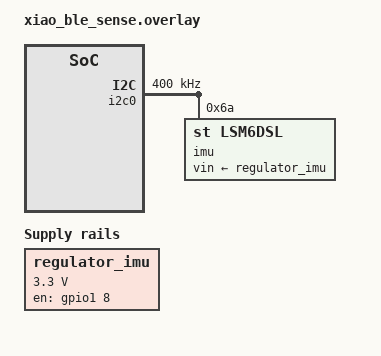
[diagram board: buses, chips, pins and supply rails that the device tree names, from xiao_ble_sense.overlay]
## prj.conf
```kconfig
CONFIG_STDOUT_CONSOLE=y
CONFIG_I2C=y
CONFIG_TEMP_NRF5=y
CONFIG_LSM6DSL=y
CONFIG_LSM6DSL_TRIGGER_GLOBAL_THREAD=y

CONFIG_REGULATOR=y
CONFIG_REGULATOR_FIXED=y

CONFIG_SENSOR=y
```

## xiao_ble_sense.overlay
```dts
// To get started, press Ctrl+Space to bring up the completion menu and view the available nodes.

// You can also use the buttons in the sidebar to perform actions on nodes.
// Actions currently available include:

// * Enabling / disabling the node
// * Adding the bus to a bus
// * Removing the node
// * Connecting ADC channels

// For more help, browse the DeviceTree documentation at https://docs.zephyrproject.org/latest/guides/dts/index.html
// You can also visit the nRF DeviceTree extension documentation at https://docs.nordicsemi.com/bundle/nrf-connect-vscode/page/guides/ncs_configure_app.html#devicetree-support-in-the-extension
/{
    regulator_imu: regulator-imu {
        compatible = "regulator-fixed";
        regulator-name = "IMU_Regulator";
        enable-gpios = <&gpio1 8 (GPIO_ACTIVE_HIGH| NRF_GPIO_DRIVE_S0H1)>;
        startup-delay-us = <10000>;
        regulator-min-microvolt = <3300000>;
        regulator-max-microvolt = <3300000>;
        regulator-boot-on;
        status = "okay";
    };

};



&i2c0 {
    compatible = "nordic,nrf-twim";
	/* Cannot be used together with spi0. */
	status = "okay";
	pinctrl-0 = <&i2c0_default>;
	pinctrl-1 = <&i2c0_sleep>;
	pinctrl-names = "default", "sleep";
	clock-frequency = <I2C_BITRATE_FAST>;
    label = "I2C0";

    // imu: imu@6a{
    //     compatible = "st,lsm6dsx";
    //     reg = <0x6a>;
    //     label = "IMU";
    //     vdd-supply=<&regulator_imu>;
    //     vin-supply=<&regulator_imu>;
    //     vddio-supply=<&regulator_imu>;
    //     st,pullups;
    //     status = "okay";
        
    // };
    imu: imu@6a{
        compatible = "st,lsm6dsl";
        reg = <0x6a>;
        status="okay";
        vin-supply=<&regulator_imu>;
    };
};

&gpio1 {
    status = "okay";
};
```

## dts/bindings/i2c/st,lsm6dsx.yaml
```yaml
# SPDX-License-Identifier: (GPL-2.0 OR BSD-2-Clause)
%YAML 1.2
---
$id: http://devicetree.org/schemas/iio/imu/st,lsm6dsx.yaml#
$schema: http://devicetree.org/meta-schemas/core.yaml#

title: STM 6-axis (acc + gyro) IMU Mems sensors

maintainers:
  - Lorenzo Bianconi <lorenzo@kernel.org>

description:
  Devices have both I2C and SPI interfaces.

include: ["i2c-device.yaml"]

properties:
  compatible:
    oneOf:
      - enum:
          - st,lsm6ds3
          - st,lsm6ds3h
          - st,lsm6dsl
          - st,lsm6dsm
          - st,ism330dlc
          - st,lsm6dso
          - st,asm330lhh
          - st,lsm6dsox
          - st,lsm6dsr
          - st,lsm6ds3tr-c
          - st,ism330dhcx
          - st,lsm9ds1-imu
          - st,lsm6ds0
          - st,lsm6dsrx
          - st,lsm6dst
          - st,lsm6dsop
          - st,lsm6dsv
          - st,lsm6dso16is
      - items:
          - enum:
              - st,asm330lhhx
              - st,asm330lhhxg1
          - const: st,lsm6dsr
      - items:
          - const: st,lsm6dstx
          - const: st,lsm6dst
      - items:
          - const: st,lsm6dsv16x
          - const: st,lsm6dsv
      - items:
          - const: st,ism330is
          - const: st,lsm6dso16is
      - items:
          - const: st,asm330lhb
          - const: st,asm330lhh

  reg:
    maxItems: 1

  interrupts:
    minItems: 1
    maxItems: 2
    description:
      Supports up to 2 interrupt lines via the INT1 and INT2 pins.

  vdd-supply:
    description: if defined provides VDD power to the sensor.

  vddio-supply:
    description: if defined provides VDD IO power to the sensor.

  st,drdy-int-pin:
    $ref: /schemas/types.yaml#/definitions/uint32
    description: |
      The pin on the package that will be used to signal data ready
    enum:
      - 1
      - 2

  st,pullups:
    type: boolean
    description: enable/disable internal i2c controller pullup resistors.

  st,disable-sensor-hub:
    type: boolean
    description:
      Enable/disable internal i2c controller slave autoprobing at bootstrap.
      Disable sensor-hub is useful if i2c controller clock/data lines are
      connected through a pull-up with other chip lines (e.g. SDO/SA0).

  drive-open-drain:
    type: boolean
    description:
      The interrupt/data ready line will be configured as open drain, which
      is useful if several sensors share the same interrupt line.

  wakeup-source:
    $ref: /schemas/types.yaml#/definitions/flag

  mount-matrix:
    description: an optional 3x3 mounting rotation matrix

required:
  - compatible
  - reg

allOf:
  - $ref: /schemas/iio/iio.yaml#
  - $ref: /schemas/spi/spi-peripheral-props.yaml#
  - $ref: /schemas/i2c/i2c-peripheral-props.yaml#

unevaluatedProperties: false

examples:
  - |
    #include <dt-bindings/interrupt-controller/irq.h>
    i2c {
        #address-cells = <1>;
        #size-cells = <0>;

        imu@6b {
            compatible = "st,lsm6dsm";
            reg = <0x6b>;
            interrupt-parent = <&gpio0>;
            interrupts = <0 IRQ_TYPE_EDGE_RISING>;
        };
    };
...
```

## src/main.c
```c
/*
 * Copyright (c) 2018 STMicroelectronics
 *
 * SPDX-License-Identifier: Apache-2.0
 */

#include <zephyr/kernel.h>
#include <zephyr/device.h>
#include <zephyr/drivers/sensor.h>
#include <zephyr/drivers/i2c.h>
#include <stdio.h>
#include <zephyr/sys/util.h>
#include <zephyr/drivers/gpio.h>


#define I2C0_NODE DT_NODELABEL(i2c0)
#define IMU_NODE DT_NODELABEL(imu)
static inline float out_ev(struct sensor_value *val)
{
	return (val->val1 + (float)val->val2 / 1000000);
}

static int print_samples;
static int lsm6dsl_trig_cnt;

static struct sensor_value accel_x_out, accel_y_out, accel_z_out;
static struct sensor_value gyro_x_out, gyro_y_out, gyro_z_out;
#if defined(CONFIG_LSM6DSL_EXT0_LIS2MDL)
static struct sensor_value magn_x_out, magn_y_out, magn_z_out;
#endif
#if defined(CONFIG_LSM6DSL_EXT0_LPS22HB)
static struct sensor_value press_out, temp_out;
#endif

#ifdef CONFIG_LSM6DSL_TRIGGER
static void lsm6dsl_trigger_handler(const struct device *dev,
				    const struct sensor_trigger *trig)
{
	static struct sensor_value accel_x, accel_y, accel_z;
	static struct sensor_value gyro_x, gyro_y, gyro_z;
#if defined(CONFIG_LSM6DSL_EXT0_LIS2MDL)
	static struct sensor_value magn_x, magn_y, magn_z;
#endif
#if defined(CONFIG_LSM6DSL_EXT0_LPS22HB)
	static struct sensor_value press, temp;
#endif
	lsm6dsl_trig_cnt++;

	sensor_sample_fetch_chan(dev, SENSOR_CHAN_ACCEL_XYZ);
	sensor_channel_get(dev, SENSOR_CHAN_ACCEL_X, &accel_x);
	sensor_channel_get(dev, SENSOR_CHAN_ACCEL_Y, &accel_y);
	sensor_channel_get(dev, SENSOR_CHAN_ACCEL_Z, &accel_z);

	/* lsm6dsl gyro */
	sensor_sample_fetch_chan(dev, SENSOR_CHAN_GYRO_XYZ);
	sensor_channel_get(dev, SENSOR_CHAN_GYRO_X, &gyro_x);
	sensor_channel_get(dev, SENSOR_CHAN_GYRO_Y, &gyro_y);
	sensor_channel_get(dev, SENSOR_CHAN_GYRO_Z, &gyro_z);

#if defined(CONFIG_LSM6DSL_EXT0_LIS2MDL)
	/* lsm6dsl external magn */
	sensor_sample_fetch_chan(dev, SENSOR_CHAN_MAGN_XYZ);
	sensor_channel_get(dev, SENSOR_CHAN_MAGN_X, &magn_x);
	sensor_channel_get(dev, SENSOR_CHAN_MAGN_Y, &magn_y);
	sensor_channel_get(dev, SENSOR_CHAN_MAGN_Z, &magn_z);
#endif

#if defined(CONFIG_LSM6DSL_EXT0_LPS22HB)
	/* lsm6dsl external press/temp */
	sensor_sample_fetch_chan(dev, SENSOR_CHAN_PRESS);
	sensor_channel_get(dev, SENSOR_CHAN_PRESS, &press);

	sensor_sample_fetch_chan(dev, SENSOR_CHAN_AMBIENT_TEMP);
	sensor_channel_get(dev, SENSOR_CHAN_AMBIENT_TEMP, &temp);
#endif

	if (print_samples) {
		print_samples = 0;

		accel_x_out = accel_x;
		accel_y_out = accel_y;
		accel_z_out = accel_z;

		gyro_x_out = gyro_x;
		gyro_y_out = gyro_y;
		gyro_z_out = gyro_z;

#if defined(CONFIG_LSM6DSL_EXT0_LIS2MDL)
		magn_x_out = magn_x;
		magn_y_out = magn_y;
		magn_z_out = magn_z;
#endif

#if defined(CONFIG_LSM6DSL_EXT0_LPS22HB)
		press_out = press;
		temp_out = temp;
#endif
	}

}
#endif

int main(void)
{
	

	int err = 0; 

	//Checkin gif the I2C bus sees the sensor
	uint8_t reg_addr = 0x0F;
	uint8_t who_am_i; 
	// Step 1: Get I2C device binding (for I2C0)
    static const struct i2c_dt_spec dev_i2c = I2C_DT_SPEC_GET(IMU_NODE);  // Using DEVICE_DT_GET for I2C0 bus
    if (!device_is_ready(dev_i2c.bus)) {
		printk("I2C bus %s is not ready!\n\r",dev_i2c.bus->name);
		return -1;
	} else {
		printk("I2C bus FOUND\n");
		printk("Address of I2C device: 0x%x\n", dev_i2c.addr);
		printk("Name of I2C: %s\n", dev_i2c.bus->name);
	}

	// Step 2: Configure I2C bus speed to standard mode (100 kHz)
    if (i2c_configure(dev_i2c.bus, I2C_SPEED_SET(I2C_SPEED_STANDARD)) < 0) {
        printk("I2C: Failed to configure.\n");
        return -1;
    } else {
		printk("I2C: Speed Config Done\n");
	}

	// Step 3: Read WHO_AM_I register from the sensor
	err = i2c_write_read(dev_i2c.bus, dev_i2c.addr, &reg_addr, sizeof(reg_addr), &who_am_i, sizeof(who_am_i));
    if (err < 0) {
        printk("I2C: Failed to read WHO_AM_I register.\n");
        return -1;
    }

	 // Step 4: Print the read value
    printk("WHO_AM_I register: 0x%x\n", who_am_i);  

	// COnfirm that the sensor is correctly configured after I2C is seeing the sensor
	int cnt = 0;
	char out_str[64];
	struct sensor_value odr_attr;
	const struct device *imu_dev = DEVICE_DT_GET(DT_NODELABEL(imu));

	if (!device_is_ready(imu_dev)) {
		printk("IMU device not ready\n");
		return -1;
	} else {
		printk("IMU READY\n");
	}


	if (lsm6dsx_dev == NULL){
		printk("device is not being referenced properly\n");
	} else {
		printk("Device is referenced\n");
	}

	if (!device_is_ready(lsm6dsx_dev)) {
		printk("sensor: device not ready.\n");
		return 0;
	} else {
		printk("Sensor: READY\n");
	}


 	/* set accel/gyro sampling frequency to 104 Hz */
	odr_attr.val1 = 104;
	odr_attr.val2 = 0;

	if (sensor_attr_set(lsm6dsl_dev, SENSOR_CHAN_ACCEL_XYZ,
			    SENSOR_ATTR_SAMPLING_FREQUENCY, &odr_attr) < 0) {
		printk("Cannot set sampling frequency for accelerometer.\n");
		return 0;
	}

	if (sensor_attr_set(lsm6dsl_dev, SENSOR_CHAN_GYRO_XYZ,
			    SENSOR_ATTR_SAMPLING_FREQUENCY, &odr_attr) < 0) {
		printk("Cannot set sampling frequency for gyro.\n");
		return 0;
	}

#ifdef CONFIG_LSM6DSL_TRIGGER
	struct sensor_trigger trig;

	trig.type = SENSOR_TRIG_DATA_READY;
	trig.chan = SENSOR_CHAN_ACCEL_XYZ;

	if (sensor_trigger_set(lsm6dsl_dev, &trig, lsm6dsl_trigger_handler) != 0) {
		printk("Could not set sensor type and channel\n");
		return 0;
	}
#endif

	if (sensor_sample_fetch(lsm6dsl_dev) < 0) {
		printk("Sensor sample update error\n");
		return 0;
	}

	while (1) {
		/* Erase previous */
		printk("\0033\014");
		printf("LSM6DSL sensor samples:\n\n");

		/* lsm6dsl accel */
		sprintf(out_str, "accel x:%f ms/2 y:%f ms/2 z:%f ms/2",
							  out_ev(&accel_x_out),
							  out_ev(&accel_y_out),
							  out_ev(&accel_z_out));
		printk("%s\n", out_str);

		/* lsm6dsl gyro */
		sprintf(out_str, "gyro x:%f dps y:%f dps z:%f dps",
							   out_ev(&gyro_x_out),
							   out_ev(&gyro_y_out),
							   out_ev(&gyro_z_out));
		printk("%s\n", out_str);

#if defined(CONFIG_LSM6DSL_EXT0_LIS2MDL)
		/* lsm6dsl external magn */
		sprintf(out_str, "magn x:%f gauss y:%f gauss z:%f gauss",
							   out_ev(&magn_x_out),
							   out_ev(&magn_y_out),
							   out_ev(&magn_z_out));
		printk("%s\n", out_str);
#endif

#if defined(CONFIG_LSM6DSL_EXT0_LPS22HB)
		/* lsm6dsl external press/temp */
		sprintf(out_str, "press: %f kPa - temp: %f deg",
			out_ev(&press_out), out_ev(&temp_out));
		printk("%s\n", out_str);
#endif

		printk("loop:%d trig_cnt:%d\n\n", ++cnt, lsm6dsl_trig_cnt);

		print_samples = 1;
		k_sleep(K_MSEC(2000));
	}
}
```
